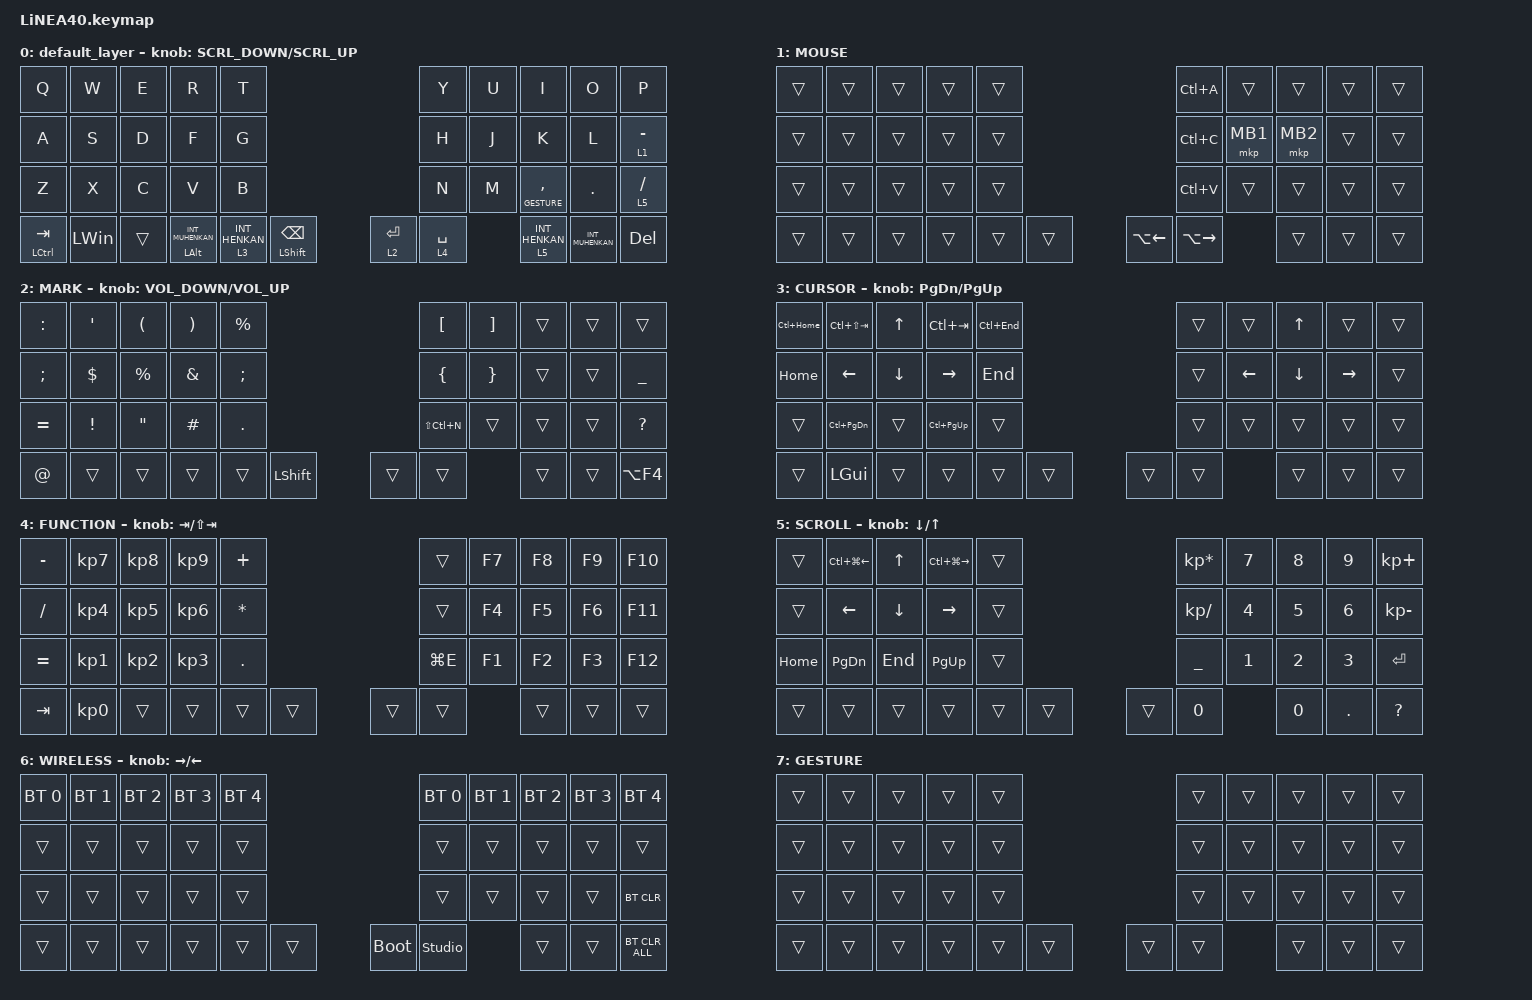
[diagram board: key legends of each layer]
#define ZMK_POINTING_DEFAULT_SCRL_VAL 150

#include <mouse-gesture.dtsi>
#include <dt-bindings/zmk/input_transform.h>
#include <input/processors.dtsi>
#include <input/processors/runtime-input-processor.dtsi>
#include <zephyr/dt-bindings/input/input-event-codes.h>
#include <behaviors.dtsi>
#include <dt-bindings/zmk/bt.h>
#include <dt-bindings/zmk/keys.h>
#include <dt-bindings/zmk/pointing.h>

#define MOUSE 1
#define MARK 2
#define CURSOR 3
#define FUNCTION 4
#define SCROLL 5
#define WIRELESS 6
#define GESTURE 7

//mouse cursol

&mmv {
    delay-ms = <20>;
    trigger-period-ms = <5>;
    time-to-max-speed-ms = <100>;
    acceleration-exponent = <2>;
};

//mouse scroll

&msc {
    delay-ms = <3>;
    trigger-period-ms = <3>;
    time-to-max-speed-ms = <100>;
    acceleration-exponent = <0>;
};

/ {
    input_processors {
        zip_wheel_scaler: zip_wheel_scaler {
            compatible = "zmk,input-processor-scaler";
            #input-processor-cells = <2>;
            type = <INPUT_EV_REL>;
            codes = <INPUT_REL_WHEEL>;
            track-remainders;
        };
    };
};

&msc_input_listener {
    speed_up {
        layers = <FUNCTION>;
        input-processors = <&zip_wheel_scaler 3 1>; //スクロールを3倍速にする
    };
};

&trackball_listener {
    scroller {
        layers = <SCROLL>;
        input-processors =
            <&zip_xy_transform INPUT_TRANSFORM_Y_INVERT>,
            //スクロール方向を逆転,,,,,,
            <&zip_xy_to_scroll_mapper>,
            <&scroll_runtime_input_processor>;
    };
    gesture {
        layers = <GESTURE>;
        input-processors = <&zip_mouse_gesture &zip_xy_scaler 0 1>;
    };
};

/ {
    layer_listeners {
        compatible = "zmk,layer-listeners";

        gesture_on_l7 {
            layers = <GESTURE>;
            bindings = <&mouse_gesture_on &mouse_gesture_off>;
        };
    };
};

/ {
    combos {
        compatible = "zmk,combos";

        ZenkakuHankaku {
            bindings = <&bt BT_SEL 1>;
            key-positions = <5 6>;
        };

        DeleteKey {
            bindings = <&bt BT_SEL 2>;
            key-positions = <15 16>;
        };

        InsertKey {
            bindings = <&bt BT_SEL 0>;
            key-positions = <5 9 8>;
        };

        CenterClick {
            bindings = <&mkp MB3>;
            key-positions = <38 39>;
        };

        wiyaress {
            bindings = <&to 6>;
            key-positions = <20 30>;
        };

        tab {
            bindings = <&kp TAB>;
            key-positions = <10 11>;
        };

        rock {
            bindings = <&kp LG(L)>;
            key-positions = <8 9>;
        };

        leftclike {
            bindings = <&mkp MB1>;
            key-positions = <16 17>;
        };

        rightclike {
            bindings = <&mkp MB2>;
            key-positions = <17 18>;
        };
    };

    behaviors {
        re_kp: sensor_rotate_kp {
            compatible = "zmk,behavior-sensor-rotate-var";
            #sensor-binding-cells = <2>;
            bindings = <&kp>, <&kp>;
        };

        mouse_scrl: mouse_wheel_scrl {
            compatible = "zmk,behavior-sensor-rotate-var";
            #sensor-binding-cells = <2>;
            bindings = <&msc>, <&msc>;

            tap-ms = <20>;
        };
    };

    keymap {
        compatible = "zmk,keymap";

        default_layer {
            bindings = <
&kp Q          &kp W         &kp E   &kp R                      &kp T                                                      &kp Y        &kp U  &kp I             &kp O             &kp P
&kp A          &kp S         &kp D   &kp F                      &kp G                                                      &kp H        &kp J  &kp K             &kp L             &lt 1 MINUS
&kp Z          &kp X         &kp C   &kp V                      &kp B                                                      &kp N        &kp M  &lt GESTURE COMMA &kp DOT           &lt 5 SLASH
&mt LCTRL TAB  &kp LEFT_WIN  &trans  &mt LEFT_ALT INT_MUHENKAN  &lt 3 INT_HENKAN  &mt LEFT_SHIFT BACKSPACE    &lt 2 ENTER  &lt 4 SPACE         &lt 5 INT_HENKAN  &kp INT_MUHENKAN  &kp DEL
            >;

            sensor-bindings = <&mouse_scrl SCRL_DOWN SCRL_UP>;
        };

        //1

        MOUSE {
            bindings = <
&trans  &trans  &trans  &trans  &trans                          &kp LC(A)      &trans    &trans    &trans  &trans
&trans  &trans  &trans  &trans  &trans                          &kp LC(C)      &mkp MB1  &mkp MB2  &trans  &trans
&trans  &trans  &trans  &trans  &trans                          &kp LC(V)      &trans    &trans    &trans  &trans
&trans  &trans  &trans  &trans  &trans  &trans    &kp LA(LEFT)  &kp LA(RIGHT)            &trans    &trans  &trans
            >;
        };

        //2

        MARK {
            bindings = <
&kp COLON  &kp SINGLE_QUOTE  &kp LEFT_PARENTHESIS  &kp RIGHT_PARENTHESIS  &kp PERCENT                              &kp LEFT_BRACKET  &kp RIGHT_BRACKET  &trans  &trans  &trans
&kp SEMI   &kp DOLLAR        &kp PERCENT           &kp AMPERSAND          &kp SEMICOLON                            &kp LEFT_BRACE    &kp RIGHT_BRACE    &trans  &trans  &kp UNDER
&kp EQUAL  &kp EXCLAMATION   &kp DQT               &kp HASH               &kp PERIOD                               &kp LS(LC(N))     &trans             &trans  &trans  &kp QUESTION
&kp AT     &trans            &trans                &trans                 &trans         &kp LEFT_SHIFT    &trans  &trans                               &trans  &trans  &kp LA(F4)
            >;

            sensor-bindings = <&re_kp C_VOLUME_DOWN C_VOLUME_UP>;
        };

        //3

        CURSOR {
            bindings = <
&kp LC(HOME)  &kp LC(LS(TAB))    &kp UP_ARROW  &kp LC(TAB)      &kp LC(END)                    &trans  &trans    &kp UP_ARROW  &trans     &trans
&kp HOME      &kp LEFT_ARROW     &kp DOWN      &kp RIGHT_ARROW  &kp END                        &trans  &kp LEFT  &kp DOWN      &kp RIGHT  &trans
&trans        &kp LC(PAGE_DOWN)  &trans        &kp LC(PAGE_UP)  &trans                         &trans  &trans    &trans        &trans     &trans
&trans        &kp LEFT_GUI       &trans        &trans           &trans       &trans    &trans  &trans            &trans        &trans     &trans
            >;

            sensor-bindings = <&inc_dec_kp PAGE_DOWN PAGE_UP>;
        };

        //4

        FUNCTION {
            bindings = <
&kp MINUS  &kp KP_NUMBER_7  &kp KP_NUMBER_8  &kp KP_NUMBER_9  &kp PLUS                        &trans     &kp F7  &kp F8  &kp F9  &kp F10
&kp SLASH  &kp KP_NUMBER_4  &kp KP_NUMBER_5  &kp KP_NUMBER_6  &kp ASTERISK                    &trans     &kp F4  &kp F5  &kp F6  &kp F11
&kp EQUAL  &kp KP_NUMBER_1  &kp KP_NUMBER_2  &kp KP_NUMBER_3  &kp PERIOD                      &kp LG(E)  &kp F1  &kp F2  &kp F3  &kp F12
&kp TAB    &kp KP_NUMBER_0  &trans           &trans           &trans        &trans    &trans  &trans             &trans  &trans  &trans
            >;

            sensor-bindings = <&re_kp TAB LS(TAB)>;
        };

        //5

        SCROLL {
            bindings = <
&trans    &kp LC(LG(LEFT_ARROW))  &kp UP_ARROW  &kp LC(LG(RIGHT_ARROW))  &trans                    &kp KP_MULTIPLY  &kp NUMBER_7  &kp NUMBER_8  &kp NUMBER_9  &kp KP_PLUS
&trans    &kp LEFT_ARROW          &kp DOWN      &kp RIGHT_ARROW          &trans                    &kp KP_SLASH     &kp NUMBER_4  &kp NUMBER_5  &kp NUMBER_6  &kp KP_MINUS
&kp HOME  &kp PAGE_DOWN           &kp END       &kp PAGE_UP              &trans                    &kp UNDER        &kp NUMBER_1  &kp NUMBER_2  &kp NUMBER_3  &kp ENTER
&trans    &trans                  &trans        &trans                   &trans  &trans    &trans  &kp NUMBER_0                   &kp NUMBER_0  &kp DOT       &kp QUESTION
            >;

            sensor-bindings = <&inc_dec_kp DOWN_ARROW UP_ARROW>;
        };

        //6

        WIRELESS {
            bindings = <
&bt BT_SEL 0  &bt BT_SEL 1  &bt BT_SEL 2  &bt BT_SEL 3  &bt BT_SEL 4                         &bt BT_SEL 0    &bt BT_SEL 1  &bt BT_SEL 2  &bt BT_SEL 3  &bt BT_SEL 4
&trans        &trans        &trans        &trans        &trans                               &trans          &trans        &trans        &trans        &trans
&trans        &trans        &trans        &trans        &trans                               &trans          &trans        &trans        &trans        &bt BT_CLR
&trans        &trans        &trans        &trans        &trans        &trans    &bootloader  &studio_unlock                &trans        &trans        &bt BT_CLR_ALL
            >;

            sensor-bindings = <&inc_dec_kp RIGHT_ARROW LEFT_ARROW>;
        };

        //7

        GESTURE {
            bindings = <
&trans  &trans  &trans  &trans  &trans                          &trans  &trans  &trans  &trans  &trans
&trans  &trans  &trans  &trans  &trans                          &trans  &trans  &trans  &trans  &trans
&trans  &trans  &trans  &trans  &trans                          &trans  &trans  &trans  &trans  &trans
&trans  &trans  &trans  &trans  &trans  &trans    &trans  &trans          &trans  &trans  &trans
            >;
        };
    };
};

&zip_mouse_gesture {
    stroke-size = <200>;
    enable-eager-mode;
    idle-timeout-ms = <150>;
    gesture-cooldown-ms = <300>;

    task_view {
        pattern = <GESTURE_UP>;
        bindings = <&kp LG(TAB)>;
    };

    show_desk {
        pattern = <GESTURE_DOWN>;
        bindings = <&kp LG(D)>;
    };

    vdesk_prev {
        pattern = <GESTURE_LEFT>;
        bindings = <&kp LG(LC(RIGHT))>;
    };

    vdesk_next {
        pattern = <GESTURE_RIGHT>;
        bindings = <&kp LG(LC(LEFT))>;
    };
};
